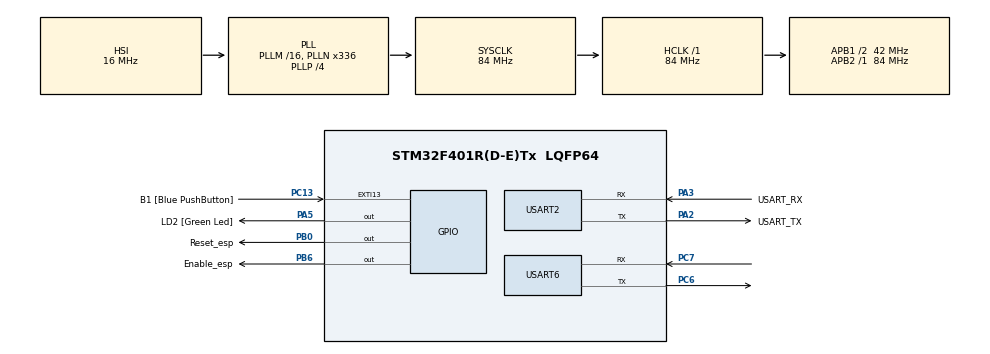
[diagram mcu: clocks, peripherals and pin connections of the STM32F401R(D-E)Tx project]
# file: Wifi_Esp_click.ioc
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Mcu.Family=STM32F4
Mcu.Name=STM32F401R(D-E)Tx
Mcu.Package=LQFP64
NVIC.PriorityGroup=NVIC_PRIORITYGROUP_0
NVIC.USART6_IRQn=true\:0\:0\:false\:false\:true\:true\:true\:true
PA13.GPIO_Label=TMS
PA13.Mode=Serial_Wire
PA13.Signal=SYS_JTMS-SWDIO
PA14.GPIO_Label=TCK
PA14.Mode=Serial_Wire
PA14.Signal=SYS_JTCK-SWCLK
PA2.GPIO_Label=USART_TX
PA2.GPIO_Mode=GPIO_MODE_AF_PP
PA2.GPIO_PuPd=GPIO_NOPULL
PA2.GPIO_Speed=GPIO_SPEED_FREQ_LOW
PA2.Mode=Asynchronous
PA2.Signal=USART2_TX
PA3.GPIO_Label=USART_RX
PA3.GPIO_Mode=GPIO_MODE_AF_PP
PA3.GPIO_PuPd=GPIO_NOPULL
PA3.GPIO_Speed=GPIO_SPEED_FREQ_LOW
PA3.Mode=Asynchronous
PA3.Signal=USART2_RX
PA5.GPIO_Label=LD2 [Green Led]
PA5.GPIO_Mode=GPIO_MODE_OUTPUT_PP
PA5.GPIO_PuPd=GPIO_NOPULL
PA5.GPIO_Speed=GPIO_SPEED_FREQ_LOW
PA5.Signal=GPIO_Output
PB0.GPIO_Label=Reset_esp
PB0.Signal=GPIO_Output
PB3.GPIO_Label=SWO
PB3.Signal=SYS_JTDO-SWO
PB6.GPIO_Label=Enable_esp
PB6.Signal=GPIO_Output
PC13-ANTI_TAMP.GPIO_Label=B1 [Blue PushButton]
PC13-ANTI_TAMP.GPIO_ModeDefaultEXTI=GPIO_MODE_IT_FALLING
PC13-ANTI_TAMP.GPIO_PuPd=GPIO_NOPULL
PC13-ANTI_TAMP.Signal=GPXTI13
PC14-OSC32_IN.Mode=LSE-External-Oscillator
PC14-OSC32_IN.Signal=RCC_OSC32_IN
PC15-OSC32_OUT.Mode=LSE-External-Oscillator
PC15-OSC32_OUT.Signal=RCC_OSC32_OUT
PC6.Mode=Asynchronous
PC6.Signal=USART6_TX
PC7.Mode=Asynchronous
PC7.Signal=USART6_RX
PH0\ -\ OSC_IN.Mode=HSE-External-Clock-Source
PH0\ -\ OSC_IN.Signal=RCC_OSC_IN
PH1\ -\ OSC_OUT.Mode=HSE-External-Clock-Source
PH1\ -\ OSC_OUT.Signal=RCC_OSC_OUT
ProjectManager.HeapSize=0x200
ProjectManager.StackSize=0x400
ProjectManager.TargetToolchain=STM32CubeIDE
RCC.48MHZClocksFreq_Value=48000000
RCC.AHBFreq_Value=84000000
RCC.APB1CLKDivider=RCC_HCLK_DIV2
RCC.APB1Freq_Value=42000000
RCC.APB1TimFreq_Value=84000000
RCC.APB2Freq_Value=84000000
RCC.APB2TimFreq_Value=84000000
RCC.CortexFreq_Value=84000000
RCC.HCLKFreq_Value=84000000
RCC.HSE_VALUE=8000000
RCC.HSI_VALUE=16000000
RCC.PLLN=336
RCC.PLLP=RCC_PLLP_DIV4
RCC.PLLQ=7
RCC.SYSCLKFreq_VALUE=84000000
RCC.SYSCLKSource=RCC_SYSCLKSOURCE_PLLCLK
RCC.VCOOutputFreq_Value=336000000
USART2.VirtualMode=VM_ASYNC
USART6.VirtualMode=VM_ASYNC
board=NUCLEO-F401RE

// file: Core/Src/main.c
/* USER CODE BEGIN Header */
/**
  ******************************************************************************
  * @file           : main.c
  * @brief          : Main program body
  ******************************************************************************
  * @attention
  *
  * Copyright (c) 2024 STMicroelectronics.
  * All rights reserved.
  *
  * This software is licensed under terms that can be found in the LICENSE file
  * in the root directory of this software component.
  * If no LICENSE file comes with this software, it is provided AS-IS.
  *
  ******************************************************************************
  */
/* USER CODE END Header */
#include "main.h"

UART_HandleTypeDef huart2;
UART_HandleTypeDef huart6;

/* USER CODE BEGIN PV */
//SSID e password per la connessione al router
const char *SSID = "YourSSID";
const char *password = "Yourpassword";

//buffer per inserire risposte del modulo esp
uint8_t rx_buffer[RX_BUFFER_SIZE];
uint16_t rx_index = 0;
uint8_t tx_buffer[128];

//parametri per connessione al broker
const char *MQTT_BROKER = "broker.hivemq.com";
const char *MQTT_PORT = "1883";
const char *MQTT_CLIENT_ID = "STM32Client";
const char *MQTT_TOPIC = "YourTopic";
const char *MQTT_MESSAGE = "Hello from STM32";

int c=0;
int response_received=0;
/* USER CODE END PV */

void SystemClock_Config(void);
static void MX_GPIO_Init(void);
static void MX_USART2_UART_Init(void);
static void MX_USART6_UART_Init(void);

int main(void)
{

  /* MCU Configuration--------------------------------------------------------*/

  /* Reset of all peripherals, Initializes the Flash interface and the Systick. */
  HAL_Init();

  /* Configure the system clock */
  SystemClock_Config();

  /* Initialize all configured peripherals */
  MX_GPIO_Init();
  MX_USART2_UART_Init();
  MX_USART6_UART_Init();
  /* USER CODE BEGIN 2 */
// Attivo il modulo wifi e lo resetto
WiFi_Init();
send_at_command("AT");
HAL_Delay(2000);
send_at_command("AT+RST");
HAL_Delay(2000);

 // Attivo la modalità interrut per la ricezione della risposta
HAL_UART_Receive_IT(&huart6, rx_buffer + rx_index, 1);
HAL_Delay(2000);

//mando at commmand per impostare la modalità WiFi
  	  do{
  	  send_at_command("AT+CWMODE=1");
  	  HAL_Delay(500);
  	  	  if (strstr((char*)rx_buffer, "OK\r\n") != NULL) {
  		  HAL_UART_Transmit(&huart2, (uint8_t *)"Imposto AP\r\n", strlen("Imposto AP\r\n"), HAL_MAX_DELAY);
  		  response_received = 1;} // Imposta il flag della risposta attesa
  	          }while(response_received != 1);

  	  do{
  		  send_at_command("AT+CIPMUX=0");
  		  HAL_Delay(500);
  	  	  if (strstr((char*)rx_buffer, "OK\r\n") != NULL) {
  		  HAL_UART_Transmit(&huart2, (uint8_t *)"Connessione singola\r\n", strlen("Connessione singola\r\n"), HAL_MAX_DELAY);
  		  response_received = 1;} // Imposta il flag della risposta attesa
  	          }while(response_received != 1);

 //Mi connetto al router
  	  do{
  		  HAL_UART_Transmit(&huart6, (uint8_t *)"AT+CWJAP=\"", strlen("AT+CWJAP=\""), HAL_MAX_DELAY);
  	      HAL_UART_Transmit(&huart6, (uint8_t *)SSID, strlen((char *)SSID), HAL_MAX_DELAY);
  	      HAL_UART_Transmit(&huart6, (uint8_t *)"\",\"", 3, HAL_MAX_DELAY);
  	      HAL_UART_Transmit(&huart6, (uint8_t *)password, strlen((char *)password), HAL_MAX_DELAY);
  	      HAL_UART_Transmit(&huart6, (uint8_t *)"\"\r\n", 3, HAL_MAX_DELAY);
  	  	  HAL_Delay(8000);
  	  	if (strstr((char*)rx_buffer, "WIFI GOT IP\r\n\r\nOK\r\n") != NULL) {
  	  	  		  HAL_UART_Transmit(&huart2, (uint8_t *)"Connesso al router\r\n", strlen("Connesso al router\r\n"), HAL_MAX_DELAY);
  	  	  		  response_received = 1;} // Imposta il flag della risposta attesa

  	  	  }while(response_received != 1);

//inizializzo una connessione tcp per il collegamento al broker hivemqtt

  	 do{	send_at_command("AT+CIPSTART=\"TCP\",\"broker.hivemq.com\",1883");
  	 	 	 HAL_Delay(1500);
  	  	  	  if (strstr((char*)rx_buffer, "CONNECT\r\n") != NULL) {
  	  		  HAL_UART_Transmit(&huart2, (uint8_t *)"Connessione MQTT riuscita\r\n", strlen("Connessione MQTT riuscita\r\n"), HAL_MAX_DELAY);
  	  		  response_received = 1;} // Imposta il flag della risposta attesa
  	  	          }while(response_received != 1);

//Mando il pacchetto per la connessione e il client id
  	 do{	  	MQTT_Connect(MQTT_CLIENT_ID);

  	  	  	  	  if (strstr((char*)rx_buffer, "SEND OK\r\n") != NULL) {
  	  	  		  HAL_UART_Transmit(&huart2, (uint8_t *)"Client ID e pacchetto mandato\r\n", strlen("Client ID e pacchetto mandato\r\n"), HAL_MAX_DELAY);
  	  	  		  response_received = 1;} // Imposta il flag della risposta attesa
  	  	  	          }while(response_received != 1);

//pubblico il messaggio in un determinato topic
  	 do{	  	MQTT_Publish(MQTT_TOPIC,MQTT_MESSAGE);

  	  	  	  	  if (strstr((char*)rx_buffer, "SEND OK\r\n") != NULL) {
  	  	  		  HAL_UART_Transmit(&huart2, (uint8_t *)"Messaggio pubblicato\r\n", strlen("Messaggio pubblicato\r\n"), HAL_MAX_DELAY);
  	  	  		  response_received = 1;} // Imposta il flag della risposta attesa
  	  	  	          }while(response_received != 1);

  /* USER CODE END 2 */

  /* Infinite loop */
  while (1)
  {
	  //visualizzo tutte le risposte che ho nel buffer, ricevute dal modulo esp
	  while(c<1 ){
	 		  HAL_UART_Transmit(&huart2, (uint8_t*)&rx_buffer[c], RX_BUFFER_SIZE , HAL_MAX_DELAY);
	 		  c++;}

  }
}

void SystemClock_Config(void)
{
  RCC_OscInitTypeDef RCC_OscInitStruct = {0};
  RCC_ClkInitTypeDef RCC_ClkInitStruct = {0};

  /** Configure the main internal regulator output voltage
  */
  __HAL_RCC_PWR_CLK_ENABLE();
  __HAL_PWR_VOLTAGESCALING_CONFIG(PWR_REGULATOR_VOLTAGE_SCALE2);

  /** Initializes the RCC Oscillators according to the specified parameters
  * in the RCC_OscInitTypeDef structure.
  */
  RCC_OscInitStruct.OscillatorType = RCC_OSCILLATORTYPE_HSI;
  RCC_OscInitStruct.HSIState = RCC_HSI_ON;
  RCC_OscInitStruct.HSICalibrationValue = RCC_HSICALIBRATION_DEFAULT;
  RCC_OscInitStruct.PLL.PLLState = RCC_PLL_ON;
  RCC_OscInitStruct.PLL.PLLSource = RCC_PLLSOURCE_HSI;
  RCC_OscInitStruct.PLL.PLLM = 16;
  RCC_OscInitStruct.PLL.PLLN = 336;
  RCC_OscInitStruct.PLL.PLLP = RCC_PLLP_DIV4;
  RCC_OscInitStruct.PLL.PLLQ = 7;
  if (HAL_RCC_OscConfig(&RCC_OscInitStruct) != HAL_OK)
  {
    Error_Handler();
  }

  /** Initializes the CPU, AHB and APB buses clocks
  */
  RCC_ClkInitStruct.ClockType = RCC_CLOCKTYPE_HCLK|RCC_CLOCKTYPE_SYSCLK
                              |RCC_CLOCKTYPE_PCLK1|RCC_CLOCKTYPE_PCLK2;
  RCC_ClkInitStruct.SYSCLKSource = RCC_SYSCLKSOURCE_PLLCLK;
  RCC_ClkInitStruct.AHBCLKDivider = RCC_SYSCLK_DIV1;
  RCC_ClkInitStruct.APB1CLKDivider = RCC_HCLK_DIV2;
  RCC_ClkInitStruct.APB2CLKDivider = RCC_HCLK_DIV1;

  if (HAL_RCC_ClockConfig(&RCC_ClkInitStruct, FLASH_LATENCY_2) != HAL_OK)
  {
    Error_Handler();
  }
}

static void MX_USART2_UART_Init(void)
{

  huart2.Instance = USART2;
  huart2.Init.BaudRate = 115200;
  huart2.Init.WordLength = UART_WORDLENGTH_8B;
  huart2.Init.StopBits = UART_STOPBITS_1;
  huart2.Init.Parity = UART_PARITY_NONE;
  huart2.Init.Mode = UART_MODE_TX_RX;
  huart2.Init.HwFlowCtl = UART_HWCONTROL_NONE;
  huart2.Init.OverSampling = UART_OVERSAMPLING_16;
  if (HAL_UART_Init(&huart2) != HAL_OK)
  {
    Error_Handler();
  }

}

static void MX_USART6_UART_Init(void)
{

  huart6.Instance = USART6;
  huart6.Init.BaudRate = 115200;
  huart6.Init.WordLength = UART_WORDLENGTH_8B;
  huart6.Init.StopBits = UART_STOPBITS_1;
  huart6.Init.Parity = UART_PARITY_NONE;
  huart6.Init.Mode = UART_MODE_TX_RX;
  huart6.Init.HwFlowCtl = UART_HWCONTROL_NONE;
  huart6.Init.OverSampling = UART_OVERSAMPLING_16;
  if (HAL_UART_Init(&huart6) != HAL_OK)
  {
    Error_Handler();
  }

}

static void MX_GPIO_Init(void)
{
  GPIO_InitTypeDef GPIO_InitStruct = {0};

  /* GPIO Ports Clock Enable */
  __HAL_RCC_GPIOC_CLK_ENABLE();
  __HAL_RCC_GPIOH_CLK_ENABLE();
  __HAL_RCC_GPIOA_CLK_ENABLE();
  __HAL_RCC_GPIOB_CLK_ENABLE();

  /*Configure GPIO pin Output Level */
  HAL_GPIO_WritePin(LD2_GPIO_Port, LD2_Pin, GPIO_PIN_RESET);

  /*Configure GPIO pin Output Level */
  HAL_GPIO_WritePin(GPIOB, Reset_esp_Pin|Enable_esp_Pin, GPIO_PIN_RESET);

  /*Configure GPIO pin : B1_Pin */
  GPIO_InitStruct.Pin = B1_Pin;
  GPIO_InitStruct.Mode = GPIO_MODE_IT_FALLING;
  GPIO_InitStruct.Pull = GPIO_NOPULL;
  HAL_GPIO_Init(B1_GPIO_Port, &GPIO_InitStruct);

  /*Configure GPIO pin : LD2_Pin */
  GPIO_InitStruct.Pin = LD2_Pin;
  GPIO_InitStruct.Mode = GPIO_MODE_OUTPUT_PP;
  GPIO_InitStruct.Pull = GPIO_NOPULL;
  GPIO_InitStruct.Speed = GPIO_SPEED_FREQ_LOW;
  HAL_GPIO_Init(LD2_GPIO_Port, &GPIO_InitStruct);

  /*Configure GPIO pins : Reset_esp_Pin Enable_esp_Pin */
  GPIO_InitStruct.Pin = Reset_esp_Pin|Enable_esp_Pin;
  GPIO_InitStruct.Mode = GPIO_MODE_OUTPUT_PP;
  GPIO_InitStruct.Pull = GPIO_NOPULL;
  GPIO_InitStruct.Speed = GPIO_SPEED_FREQ_LOW;
  HAL_GPIO_Init(GPIOB, &GPIO_InitStruct);

}

/* USER CODE BEGIN 4 */
void MQTT_Connect(const char* client_id) {
    char cmd[256];
    int client_id_len = strlen(client_id);
    int packet_len = 12 + client_id_len; // Lunghezza del pacchetto MQTT CONNECT
    int cmd_length;

    // Calcola la lunghezza del comando AT+CIPSEND
    cmd_length = sprintf(cmd, "AT+CIPSEND=%d\r\n", packet_len + 2);
    HAL_UART_Transmit(&huart6, (uint8_t*)cmd, cmd_length, HAL_MAX_DELAY);

    // Attendi per un po' (200 ms)
    HAL_Delay(200);

    // Costruisci il pacchetto MQTT CONNECT
    uint8_t connect_packet[256];
    int index = 0;
    connect_packet[index++] = 0x10; // Tipo di messaggio: CONNECT
    connect_packet[index++] = packet_len; // Lunghezza del rimanente

    // Variabile header
    connect_packet[index++] = 0x00; connect_packet[index++] = 0x04; // Lunghezza del protocollo
    connect_packet[index++] = 'M'; connect_packet[index++] = 'Q'; connect_packet[index++] = 'T'; connect_packet[index++] = 'T'; // Nome del protocollo
    connect_packet[index++] = 0x04; // Livello del protocollo
    connect_packet[index++] = 0x02; // Connessione flag: Clean session
    connect_packet[index++] = 0x00; connect_packet[index++] = 0x3C; // Keep-alive: 60 secondi

    // Payload
    connect_packet[index++] = 0x00; connect_packet[index++] = client_id_len; // Lunghezza del client ID
    memcpy(&connect_packet[index], client_id, client_id_len); // Client ID
    index += client_id_len;

    // Invia il pacchetto CONNECT
    HAL_UART_Transmit(&huart6, connect_packet, index, HAL_MAX_DELAY);

    // Attendi per un po' (2000 ms) per completare la connessione
    HAL_Delay(2000);
}

void MQTT_Publish(const char* topic, const char* message) {
    char cmd[256];
    int topic_len = strlen(topic);
    int message_len = strlen(message);
    int msg_len = topic_len + message_len + 2; // Lunghezza del topic + lunghezza del messaggio + 2 byte per la lunghezza del topic
    int cmd_length;

    // Calcola e invia il comando AT+CIPSEND
    cmd_length = sprintf(cmd, "AT+CIPSEND=%d\r\n", msg_len + 2);
    HAL_UART_Transmit(&huart6, (uint8_t*)cmd, cmd_length, HAL_MAX_DELAY);

    // Attendi per un po' (200 ms)
    HAL_Delay(200);

    // Costruisci il pacchetto MQTT PUBLISH
    uint8_t publish_packet[256];
    int index = 0;
    publish_packet[index++] = 0x30; // Tipo di messaggio: PUBLISH
    publish_packet[index++] = msg_len; // Lunghezza del rimanente

    // Variabile header
    publish_packet[index++] = 0x00; publish_packet[index++] = topic_len; // Lunghezza del topic
    memcpy(&publish_packet[index], topic, topic_len); // Topic
    index += topic_len;

    // Payload
    memcpy(&publish_packet[index], message, message_len); // Messaggio
    index += message_len;

    // Invia il pacchetto PUBLISH
    HAL_UART_Transmit(&huart6, publish_packet, index, HAL_MAX_DELAY);

    // Attendi per un po' (1000 ms) per completare la pubblicazione
    HAL_Delay(1000);
}

void send_at_command(const char *command) {
    strcpy((char *)tx_buffer, command);
    HAL_UART_Transmit(&huart6, tx_buffer, strlen(command), HAL_MAX_DELAY);
	HAL_UART_Transmit(&huart6, (uint8_t *)"\r\n", strlen("\r\n"), HAL_MAX_DELAY);

}

void HAL_UART_RxCpltCallback(UART_HandleTypeDef *huart) {
    if (huart->Instance == USART6) {
        if (rx_index < RX_BUFFER_SIZE - 1) {

rx_index++; }else {
           rx_index = 0;  // Gestione overflow
}
HAL_UART_Receive_IT(&huart6, rx_buffer + rx_index, 1); // Ripristina l'interrupt di ricezione
}}

void WiFi_Init()
{
 HAL_GPIO_WritePin(GPIOB, Enable_esp_Pin, GPIO_PIN_SET);
  HAL_Delay(100);
  HAL_GPIO_WritePin(GPIOB, Reset_esp_Pin, GPIO_PIN_RESET);
  HAL_Delay(100);
  HAL_GPIO_WritePin(GPIOB, Reset_esp_Pin, GPIO_PIN_SET);
  HAL_Delay(1500);
}

/* USER CODE END 4 */

void Error_Handler(void)
{
  __disable_irq();
  while (1)
  {
  }
}
